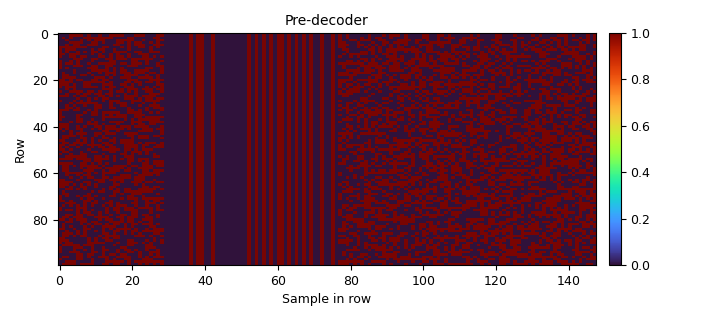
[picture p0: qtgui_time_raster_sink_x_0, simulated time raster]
options:
  parameters:
    author: brian
    generate_options: qt_gui
    id: gnuFlow
    output_language: python
    title: Not titled yet
  states: {}

blocks:
- name: alpha
  id: variable
  parameters:
    comment: |-
      Can't change alpha in real time
      for Consteallation Modulator
    value: '0.9'
  states: {}
- name: center_freq
  id: variable
  parameters:
    value: 915e6
  states: {}
- name: constellation
  id: variable_constellation
  parameters:
    precision: '8'
    type: bpsk
  states: {}
- name: constellation1
  id: variable_constellation
  parameters:
    precision: '8'
    type: qpsk
  states: {}
- name: costas_loop_bandwidth_in_cycles_per_sample
  id: variable_qtgui_range
  parameters:
    gui_hint: 21,0
    start: '0.0001'
    step: '0.0001'
    stop: '0.2'
    value: '.01'
  states: {state: disabled}
- name: nfilts
  id: variable
  parameters:
    value: '32'
  states: {state: disabled}
- name: offset
  id: variable_qtgui_range
  parameters:
    comment: increased range with FLL
    gui_hint: 6,0
    start: '-500e3'
    step: '1'
    stop: 500e3
    value: '0'
  states: {state: disabled}
- name: output_sps
  id: variable
  parameters:
    value: '1'
  states: {state: disabled}
- name: rcc_taps
  id: variable_rrc_filter_taps
  parameters:
    alpha: alpha
    comment: |-
      Gain: nfilts
      Sample Rate: nfilts*samp_rate
      Symbol Rate: samp_rate/sps
      Excess BW: alpha
      Num Taps: 11*sps*nfilts
    gain: nfilts
    ntaps: 11*sps*nfilts
    samp_rate: nfilts*samp_rate
    sym_rate: samp_rate/sps
  states: {state: disabled}
- name: samp_rate
  id: variable
  parameters:
    value: 1e6
  states: {}
- name: sps
  id: variable
  parameters:
    value: '4'
  states: {}
- name: tx_attenuation
  id: variable_qtgui_range
  parameters:
    gui_hint: 3,0
    start: '0'
    step: '1'
    stop: '89'
    value: '10'
  states: {state: disabled}
- name: analog_agc_xx_1
  id: analog_agc_xx
  parameters:
    gain: '1.0'
    max_gain: '65536'
    rate: '1e-4'
    reference: '1.0'
    type: complex
  states: {state: disabled}
- name: analog_random_source_x_0
  id: analog_random_source_x
  parameters:
    comment: 100 bits of random payload data
    max: '2'
    min: '0'
    num_samps: '10000'
    repeat: 'True'
    type: byte
  states: {}
- name: analog_random_uniform_source_x_0_0_0
  id: analog_random_uniform_source_x
  parameters:
    comment: |-
      random bytes;
      simulates input from TX python script
    maximum: '256'
    minimum: '0'
    seed: '0'
    type: byte
  states: {state: disabled}
- name: analog_sig_source_x_0
  id: analog_sig_source_x
  parameters:
    amp: '1'
    freq: offset
    offset: '0'
    phase: '0'
    samp_rate: samp_rate
    type: complex
    waveform: analog.GR_COS_WAVE
  states: {state: disabled}
- name: blocks_multiply_const_vxx_0
  id: blocks_multiply_const_vxx
  parameters:
    comment: |-
      Keep the signal from going
      above +1 or below -1
    const: '0.4'
    type: complex
  states: {state: disabled}
- name: blocks_multiply_xx_0
  id: blocks_multiply_xx
  parameters:
    type: complex
  states: {state: disabled}
- name: blocks_selector_1
  id: blocks_selector
  parameters:
    enabled: 'True'
    input_index: '1'
    num_inputs: '2'
    num_outputs: '1'
    output_index: '0'
    showports: 'False'
    type: complex
  states: {state: disabled}
- name: blocks_skiphead_0
  id: blocks_skiphead
  parameters:
    comment: |-
      skip one second of samples
      to allow FLL to sync
    num_items: int(samp_rate)
    type: complex
  states: {state: disabled}
- name: blocks_stream_mux_0
  id: blocks_stream_mux
  parameters:
    comment: crossing streammmsss!!!
    lengths: (48, 100)
    type: byte
  states: {}
- name: blocks_tag_debug_0_0_1_0
  id: blocks_tag_debug
  parameters:
    name: stream_output
    type: complex
  states: {state: disabled}
- name: blocks_tagged_stream_mux_0_0
  id: blocks_tagged_stream_mux
  parameters:
    lengthtagname: packet_len
    ninputs: '2'
    type: complex
  states: {state: disabled}
- name: blocks_unpacked_to_packed_xx_0
  id: blocks_unpacked_to_packed_xx
  parameters:
    bits_per_chunk: '1'
    endianness: gr.GR_MSB_FIRST
    type: byte
  states: {state: disabled}
- name: blocks_vector_source_x_0
  id: blocks_vector_source_x
  parameters:
    comment: |-
      Example Header for testing
      MCS: 00000001
      LEN: 01100100 (100)
      SEQ: 00000001
      SRC: 01010101
      DES: 10101010
      CRC: 10010010
    repeat: 'True'
    type: byte
    vector: (0,0,0,0,0,0,0,1,0,1,1,0,0,1,0,0,0,0,0,0,0,0,0,1,0,1,0,1,0,1,0,1,1,0,1,0,1,0,1,0,1,0,0,1,0,0,1,0)
  states: {}
- name: digital_constellation_decoder_cb_0
  id: digital_constellation_decoder_cb
  parameters:
    constellation: constellation
  states: {state: disabled}
- name: digital_costas_loop_cc_0
  id: digital_costas_loop_cc
  parameters:
    order: constellation.arity()
    w: 2*math.pi*costas_loop_bandwidth_in_cycles_per_sample
  states: {state: disabled}
- name: digital_fll_band_edge_cc_0
  id: digital_fll_band_edge_cc
  parameters:
    comment: |-
      Samples Per Symbol: sps
      Filter Rolloff Factor: alpha
      Prototype Filter Size: sps*2+1
      Loop Bandwidth: 2*math.pi/sps/100
    filter_size: sps*2+1
    rolloff: alpha
    samps_per_sym: sps
    type: cc
    w: 2*math.pi/sps/100
  states: {state: disabled}
- name: digital_packet_headerparser_b_0
  id: digital_packet_headerparser_b
  parameters: {}
  states: {state: disabled}
- name: digital_symbol_sync_xx_0
  id: digital_symbol_sync_xx
  parameters:
    comment: |-
      Filterbank Arms: nfilts
      PFB MF Taps: rcc_taps
      Changed Maximum Deviation to 0.1 because 
      the clocks aren't more off than 0.1 samples per symbol
    damping: '1.0'
    loop_bw: '0.045'
    max_dev: '0.1'
    nfilters: nfilts
    osps: output_sps
    pfb_mf_taps: rcc_taps
    resamp_type: digital.IR_PFB_MF
    sps: sps
    ted_gain: '1.0'
    ted_type: digital.TED_SIGNAL_TIMES_SLOPE_ML
    type: cc
  states: {state: disabled}
- name: epy_block_0
  id: epy_block
  parameters:
    _source_code: |
      from gnuradio import gr
      import pmt
      import logging

      class ExtractMCS(gr.basic_block):
          def __init__(self, selector_tag:str="mcs_selector", length_tag_key:str="packet_len"):
              gr.basic_block.__init__(self,
                  name="Extract MCS from PDU",
                  in_sig=None,
                  out_sig=None)
              
              self.selector_tag = selector_tag
              self.length_tag_key = pmt.intern(length_tag_key)  # Convert key to PMT
              
              self.message_port_register_in(pmt.intern("pdu_in"))
              self.message_port_register_out(pmt.intern("header_out"))
              self.message_port_register_out(pmt.intern("data_out"))
              self.message_port_register_out(pmt.intern("mcs_out"))
              
              self.set_msg_handler(pmt.intern("pdu_in"), self.handle_pdu)
              
              # Setup logging
              logging.basicConfig(level=logging.DEBUG)
              self.logger = logging.getLogger("ExtractMCS")

          def handle_pdu(self, msg):
              if not pmt.is_pair(msg):
                  self.logger.warning("Received malformed PDU message.")
                  return  # Ignore malformed messages
              
              meta = pmt.car(msg)  # Metadata
              data = pmt.cdr(msg)  # Payload (header + actual data)
              
              self.logger.debug(f"Received PDU with metadata: {meta}")
              
              if pmt.is_u8vector(data):
                  data_bytes = pmt.u8vector_elements(data)
                  
                  if len(data_bytes) >= 6:
                      mcs_value = data_bytes[0]  # First byte is MCS field
                      header = data_bytes[:6]  # First 6 bytes as header
                      payload = data_bytes[6:]  # Remaining bytes as payload
                      
                      self.logger.info(f"Extracted MCS value: {mcs_value}")
                      self.message_port_pub(pmt.intern("mcs_out"), pmt.cons(pmt.PMT_NIL, pmt.from_long(mcs_value)))

                      # Add length tag to metadata
                      # updated_meta = pmt.dict_add(meta, self.length_tag_key, pmt.from_long(len(header)))

                      # Send header as a separate PDU
                      header_pdu = pmt.cons(meta, pmt.init_u8vector(len(header), header))
                      self.logger.debug("Sending header PDU.")
                      self.message_port_pub(pmt.intern("header_out"), header_pdu)
                      
                      # Send payload as a separate PDU
                      payload_pdu = pmt.cons(meta, pmt.init_u8vector(len(payload), payload))
                      self.logger.debug("Sending payload PDU.")
                      self.message_port_pub(pmt.intern("data_out"), payload_pdu)

                  else:
                      self.logger.warning("Payload is too short to contain a valid header.")
              else:
                  self.logger.warning("Payload is not in expected format (u8vector).")
    comment: |-
      Takes in the PDU from python land
      and splits the header from it.
      Also sets the selector block for MCS
    length_tag_key: '"packet_len"'
    selector_tag: '''mcs_selector'''
  states: {state: disabled}
- name: epy_block_1
  id: epy_block
  parameters:
    _source_code: "\"\"\"\nEmbedded Python Blocks:\n\nEach time this file is saved, GRC will instantiate the first class it finds\nto get ports and parameters of your block. The arguments to __init__  will\nbe the parameters. All of them are required to have default values!\n\"\"\"\nimport numpy as np\nfrom gnuradio import gr\nimport pmt\nimport logging\n\nclass ExtractStream(gr.basic_block):\n    # def __init__(self, selector_tag:str=\"mcs_selector\", length_tag_key:str=\"packet_len\"):\n    def __init__(self):\n        gr.basic_block.__init__(self,\n            name=\"Decode from Stream\",\n            in_sig=[np.uint8],\n            out_sig=[np.uint8])\n        \n        self.message_port_register_out(pmt.intern(\"mcs_out\"))\n        self.message_port_register_out(pmt.intern(\"header_out\"))\n        self.message_port_register_out(pmt.intern(\"length_out\"))\n        \n        # Setup logging\n        logging.basicConfig(level=logging.DEBUG)\n        self.logger = logging.getLogger(\"ExtractStream\")\n        self.logger.debug(\"ExtractStream block initialized.\")\n\n    def work(self, input_items, output_items):\n        in_data = input_items[0]\n        out_data = output_items[0]\n\n        self._bit_buffer = getattr(self, \"_bit_buffer\", [])\n        self._sample_offset = getattr(self, \"_sample_offset\", self.nitems_written(0))\n\n        # Copy input to output\n        out_data[:len(in_data)] = in_data\n\n        for i, bit in enumerate(in_data):\n            self._bit_buffer.append(bit & 0x01)\n            self.logger.debug(\"Bit buffer: %s\", self._bit_buffer)\n\n            if len(self._bit_buffer) >= 48:\n                byte_list = []\n                for j in range(0, 48, 8):\n                    byte = sum((self._bit_buffer[j + k] << (7 - k)) for k in range(8))\n                    byte_list.append(byte)\n\n                header = bytearray(byte_list[:6])\n                mcs, length = header[0], header[1]\n\n                # Publish PMT messages\n                self.message_port_pub(pmt.intern(\"mcs_out\"), pmt.from_long(mcs))\n                self.message_port_pub(pmt.intern(\"header_out\"), pmt.init_u8vector(6, header))\n                self.message_port_pub(pmt.intern(\"length_out\"), pmt.from_long(length))\n\n                # Tag stream\n                tag_offset = self._sample_offset + i - 47  # Start of 48-bit sequence\n                self.add_item_tag(0, tag_offset, pmt.intern(\"mcs_selector\"), pmt.from_long(mcs))\n                self.add_item_tag(0, tag_offset, pmt.intern(\"packet_len\"), pmt.from_long(length))\n\n                del self._bit_buffer[:48]\n\n        self._sample_offset += len(in_data)\n        return len(in_data)\n\n        \n        "
  states: {}
- name: epy_block_3
  id: epy_block
  parameters:
    _source_code: |-
      import numpy as np
      from gnuradio import gr, blocks, digital
      from gnuradio.filter import firdes
      import pmt

      class pdu_modulator(gr.basic_block):
          """
          Custom GNU Radio block that takes in a PDU of bytes, maps them to symbols,
          applies RRC pulse shaping, and outputs a tagged complex stream.
          """
          def __init__(self, constellation=digital.bpsk_constellation(), sps=4, alpha=0.5, span=12,keep_front_transients=False,keep_back_transients=False):
              gr.sync_block.__init__(self,
                  name="pdu_modulator",
                  in_sig=None,
                  out_sig=[np.complex64])
              
              self.constellation = constellation
              self.sps = sps  # Samples per symbol
              self.span =span
              self.rrc_taps = firdes.root_raised_cosine(sps, sps, 1.0, alpha, span * sps)
              self.keep_front_transients = keep_front_transients
              self.keep_back_transients = keep_back_transients
              
              self.set_tag_propagation_policy(gr.TPP_DONT)
              
              self.bits_per_symbol = int(np.log2(len(self.constellation.points())))

              self.message_port_register_in(pmt.intern("Data in"))
              self.set_msg_handler(pmt.intern("Data in"), self.handle_pdu)
              self.shaped_data = None

          @staticmethod
          def bits_to_decimal(bits):
              # Convert each row of bits into its decimal equivalent
              return np.dot(bits, 2 ** np.arange(bits.shape[-1] - 1, -1, -1))
          
          def handle_pdu(self, msg):
              # Extract PDU payload
              meta = pmt.car(msg)  # Metadata
              data = pmt.cdr(msg)  # Payload (header + actual data)
              # # payload = np.frombuffer(msg.to_string(), dtype=np.uint8)
              # print(f"data: {data}")
              # # Map bytes to constellation symbols
              # bits_per_symbol = int(np.log2(len(self.constellation.points())))
              payload = np.array(pmt.u8vector_elements(data), dtype=np.uint8)
              # print(f"payload: {payload}")

              # Convert bytes into bitstream
              # print(f"data: {type(data)}")
              bitstream = np.unpackbits(payload)
              # print(f"bitstream: {bitstream}")

              # Ensure bitstream is a multiple of bits_per_symbol (pad with zeros if necessary)
              extra_bits = len(bitstream) % self.bits_per_symbol
              if extra_bits != 0:
                  bitstream = np.pad(bitstream, (0, self.bits_per_symbol - extra_bits))

              # Reshape bitstream into symbols
              # symbol_indices = np.packbits(bitstream.reshape(-1, self.bits_per_symbol), axis=-1).flatten()
              symbol_indices = self.bits_to_decimal(bitstream.reshape((-1,self.bits_per_symbol)))
              # print(f"just looking: {np.packbits(bitstream.reshape((-1, self.bits_per_symbol)), axis=-1)}")
              # print(f"symbol indices: {symbol_indices}")

              # Map symbol indices to constellation points
              # symbols = np.array([self.constellation.map_to_points(int(idx)) for idx in symbol_indices], dtype=np.complex64)
              # Allocate array for constellation mapping
              symbols = np.zeros(len(symbol_indices), dtype=np.complex64)
              # print(f"const points: {self.constellation.points()}")
              # Map symbol indices to constellation points (FIX: Correct function call)
              for index, indice in enumerate(symbol_indices):
                  # a = complex(0,0)
                  symbols[index] = self.constellation.map_to_points_v(indice)[0]
                  # print(index,a)

              # symbols = self.constellation.map_to_points(data)
              # print(f"bits_per_sym: {self.bits_per_symbol}, symbols: {symbols}")
              # Upsample and apply RRC filter
              upsampled = np.zeros(len(symbols) * self.sps, dtype=np.complex64)
              upsampled[::self.sps] = symbols  # Insert symbols with spacing
              self.shaped_data = np.convolve(upsampled, self.rrc_taps, mode='full')
              # print(f"shape of data: {self.shaped_data.shape}")
              # print(f"index: {0 if self.keep_front_transients else int(self.sps*self.span/2)} {len(self.shaped_data) if self.keep_back_transients else -int(self.sps*self.span/2)}")
              self.shaped_data = self.shaped_data[0 if self.keep_front_transients else int(self.sps*self.span/2):len(self.shaped_data) if self.keep_back_transients else -int(self.sps*self.span/2)]
              # print(f"size of filter: {len(self.rrc_taps)}, size of output: {len(self.shaped_data)}")
              
              # Tagging: Set packet length and update stream tag
              offset = self.nitems_written(0)
              self.add_item_tag(0, offset, gr.pmt.string_to_symbol("packet_len"), gr.pmt.from_long(len(self.shaped_data)))
              
              # # Output modulated samples
              # self.produce(0, len(shaped))
              # self.output_items[0][:len(shaped)] = shaped

          def work(self, input_items, output_items):
              if self.shaped_data is not None:
                  # Output modulated samples
                  output_items[0][:len(self.shaped_data)] = self.shaped_data
                  data_size = len(self.shaped_data)
                  self.shaped_data = None  # Reset after output
                  return data_size
              else:
                  return 0  # No data to output
    alpha: '.5'
    comment: |-
      BPSK for MCS0 for header.

      This block takes in a PDU and modulates it
      uses the RRC filter.

      Set if you want to keep the filter transients at the end.
      This may be nice if you want the radio to behave better
      at packet transmition.
    constellation: constellation
    keep_back_transients: 'False'
    keep_front_transients: 'False'
    span: '12'
    sps: sps
  states: {state: disabled}
- name: epy_block_3_0
  id: epy_block
  parameters:
    _source_code: |-
      import numpy as np
      from gnuradio import gr, blocks, digital
      from gnuradio.filter import firdes
      import pmt

      class pdu_modulator(gr.basic_block):
          """
          Custom GNU Radio block that takes in a PDU of bytes, maps them to symbols,
          applies RRC pulse shaping, and outputs a tagged complex stream.
          """
          def __init__(self, constellation=digital.bpsk_constellation(), sps=4, alpha=0.5, span=12,keep_front_transients=False,keep_back_transients=False):
              gr.sync_block.__init__(self,
                  name="pdu_modulator",
                  in_sig=None,
                  out_sig=[np.complex64])
              
              self.constellation = constellation
              self.sps = sps  # Samples per symbol
              self.span =span
              self.rrc_taps = firdes.root_raised_cosine(sps, sps, 1.0, alpha, span * sps)
              self.keep_front_transients = keep_front_transients
              self.keep_back_transients = keep_back_transients
              
              self.set_tag_propagation_policy(gr.TPP_DONT)
              
              self.bits_per_symbol = int(np.log2(len(self.constellation.points())))

              self.message_port_register_in(pmt.intern("Data in"))
              self.set_msg_handler(pmt.intern("Data in"), self.handle_pdu)
              self.shaped_data = None

          @staticmethod
          def bits_to_decimal(bits):
              # Convert each row of bits into its decimal equivalent
              return np.dot(bits, 2 ** np.arange(bits.shape[-1] - 1, -1, -1))
          
          def handle_pdu(self, msg):
              # Extract PDU payload
              meta = pmt.car(msg)  # Metadata
              data = pmt.cdr(msg)  # Payload (header + actual data)
              # # payload = np.frombuffer(msg.to_string(), dtype=np.uint8)
              # print(f"data: {data}")
              # # Map bytes to constellation symbols
              # bits_per_symbol = int(np.log2(len(self.constellation.points())))
              payload = np.array(pmt.u8vector_elements(data), dtype=np.uint8)
              print(f"payload: {payload}")

              # Convert bytes into bitstream
              # print(f"data: {type(data)}")
              bitstream = np.unpackbits(payload)
              print(f"bitstream: {bitstream}")

              # Ensure bitstream is a multiple of bits_per_symbol (pad with zeros if necessary)
              extra_bits = len(bitstream) % self.bits_per_symbol
              if extra_bits != 0:
                  bitstream = np.pad(bitstream, (0, self.bits_per_symbol - extra_bits))

              # Reshape bitstream into symbols
              # symbol_indices = np.packbits(bitstream.reshape(-1, self.bits_per_symbol), axis=-1).flatten()
              symbol_indices = self.bits_to_decimal(bitstream.reshape((-1,self.bits_per_symbol)))
              # print(f"just looking: {np.packbits(bitstream.reshape((-1, self.bits_per_symbol)), axis=-1)}")
              print(f"symbol indices: {symbol_indices}")

              # Map symbol indices to constellation points
              # symbols = np.array([self.constellation.map_to_points(int(idx)) for idx in symbol_indices], dtype=np.complex64)
              # Allocate array for constellation mapping
              symbols = np.zeros(len(symbol_indices), dtype=np.complex64)
              print(f"const points: {self.constellation.points()}")
              # Map symbol indices to constellation points (FIX: Correct function call)
              for index, indice in enumerate(symbol_indices):
                  # a = complex(0,0)
                  symbols[index] = self.constellation.map_to_points_v(indice)[0]
                  # print(index,a)

              # symbols = self.constellation.map_to_points(data)
              print(f"bits_per_sym: {self.bits_per_symbol}, symbols: {symbols}")
              # Upsample and apply RRC filter
              upsampled = np.zeros(len(symbols) * self.sps, dtype=np.complex64)
              upsampled[::self.sps] = symbols  # Insert symbols with spacing
              self.shaped_data = np.convolve(upsampled, self.rrc_taps, mode='full')
              print(f"shape of data: {self.shaped_data.shape}")
              print(f"index: {0 if self.keep_front_transients else int(self.sps*self.span/2)} {len(self.shaped_data) if self.keep_back_transients else -int(self.sps*self.span/2)}")
              self.shaped_data = self.shaped_data[0 if self.keep_front_transients else int(self.sps*self.span/2):len(self.shaped_data) if self.keep_back_transients else -int(self.sps*self.span/2)]
              print(f"size of filter: {len(self.rrc_taps)}, size of output: {len(self.shaped_data)}")
              
              # Tagging: Set packet length and update stream tag
              offset = self.nitems_written(0)
              self.add_item_tag(0, offset, gr.pmt.string_to_symbol("packet_len"), gr.pmt.from_long(len(self.shaped_data)))
              
              # # Output modulated samples
              # self.produce(0, len(shaped))
              # self.output_items[0][:len(shaped)] = shaped

          def work(self, input_items, output_items):
              if self.shaped_data is not None:
                  # Output modulated samples
                  output_items[0][:len(self.shaped_data)] = self.shaped_data
                  data_size = len(self.shaped_data)
                  self.shaped_data = None  # Reset after output
                  return data_size
              else:
                  return 0  # No data to output
    alpha: '.5'
    comment: BPSK for MCS0 for payload
    constellation: constellation
    keep_back_transients: 'False'
    keep_front_transients: 'False'
    span: '12'
    sps: sps
  states: {state: disabled}
- name: epy_block_3_0_0
  id: epy_block
  parameters:
    _source_code: |-
      import numpy as np
      from gnuradio import gr, blocks, digital
      from gnuradio.filter import firdes
      import pmt

      class pdu_modulator(gr.basic_block):
          """
          Custom GNU Radio block that takes in a PDU of bytes, maps them to symbols,
          applies RRC pulse shaping, and outputs a tagged complex stream.
          """
          def __init__(self, constellation=digital.bpsk_constellation(), sps=4, alpha=0.5, span=12,keep_front_transients=False,keep_back_transients=False):
              gr.sync_block.__init__(self,
                  name="pdu_modulator",
                  in_sig=None,
                  out_sig=[np.complex64])
              
              self.constellation = constellation
              self.sps = sps  # Samples per symbol
              self.span =span
              self.rrc_taps = firdes.root_raised_cosine(sps, sps, 1.0, alpha, span * sps)
              self.keep_front_transients = keep_front_transients
              self.keep_back_transients = keep_back_transients
              
              self.set_tag_propagation_policy(gr.TPP_DONT)
              
              self.bits_per_symbol = int(np.log2(len(self.constellation.points())))

              self.message_port_register_in(pmt.intern("Data in"))
              self.set_msg_handler(pmt.intern("Data in"), self.handle_pdu)
              self.shaped_data = None

          @staticmethod
          def bits_to_decimal(bits):
              # Convert each row of bits into its decimal equivalent
              return np.dot(bits, 2 ** np.arange(bits.shape[-1] - 1, -1, -1))
          
          def handle_pdu(self, msg):
              # Extract PDU payload
              meta = pmt.car(msg)  # Metadata
              data = pmt.cdr(msg)  # Payload (header + actual data)
              # # payload = np.frombuffer(msg.to_string(), dtype=np.uint8)
              # print(f"data: {data}")
              # # Map bytes to constellation symbols
              # bits_per_symbol = int(np.log2(len(self.constellation.points())))
              payload = np.array(pmt.u8vector_elements(data), dtype=np.uint8)
              print(f"payload: {payload}")

              # Convert bytes into bitstream
              # print(f"data: {type(data)}")
              bitstream = np.unpackbits(payload)
              print(f"bitstream: {bitstream}")

              # Ensure bitstream is a multiple of bits_per_symbol (pad with zeros if necessary)
              extra_bits = len(bitstream) % self.bits_per_symbol
              if extra_bits != 0:
                  bitstream = np.pad(bitstream, (0, self.bits_per_symbol - extra_bits))

              # Reshape bitstream into symbols
              # symbol_indices = np.packbits(bitstream.reshape(-1, self.bits_per_symbol), axis=-1).flatten()
              symbol_indices = self.bits_to_decimal(bitstream.reshape((-1,self.bits_per_symbol)))
              # print(f"just looking: {np.packbits(bitstream.reshape((-1, self.bits_per_symbol)), axis=-1)}")
              print(f"symbol indices: {symbol_indices}")

              # Map symbol indices to constellation points
              # symbols = np.array([self.constellation.map_to_points(int(idx)) for idx in symbol_indices], dtype=np.complex64)
              # Allocate array for constellation mapping
              symbols = np.zeros(len(symbol_indices), dtype=np.complex64)
              print(f"const points: {self.constellation.points()}")
              # Map symbol indices to constellation points (FIX: Correct function call)
              for index, indice in enumerate(symbol_indices):
                  # a = complex(0,0)
                  symbols[index] = self.constellation.map_to_points_v(indice)[0]
                  # print(index,a)

              # symbols = self.constellation.map_to_points(data)
              print(f"bits_per_sym: {self.bits_per_symbol}, symbols: {symbols}")
              # Upsample and apply RRC filter
              upsampled = np.zeros(len(symbols) * self.sps, dtype=np.complex64)
              upsampled[::self.sps] = symbols  # Insert symbols with spacing
              self.shaped_data = np.convolve(upsampled, self.rrc_taps, mode='full')
              print(f"shape of data: {self.shaped_data.shape}")
              print(f"index: {0 if self.keep_front_transients else int(self.sps*self.span/2)} {len(self.shaped_data) if self.keep_back_transients else -int(self.sps*self.span/2)}")
              self.shaped_data = self.shaped_data[0 if self.keep_front_transients else int(self.sps*self.span/2):len(self.shaped_data) if self.keep_back_transients else -int(self.sps*self.span/2)]
              print(f"size of filter: {len(self.rrc_taps)}, size of output: {len(self.shaped_data)}")
              
              # Tagging: Set packet length and update stream tag
              offset = self.nitems_written(0)
              self.add_item_tag(0, offset, gr.pmt.string_to_symbol("packet_len"), gr.pmt.from_long(len(self.shaped_data)))
              
              # # Output modulated samples
              # self.produce(0, len(shaped))
              # self.output_items[0][:len(shaped)] = shaped

          def work(self, input_items, output_items):
              if self.shaped_data is not None:
                  # Output modulated samples
                  output_items[0][:len(self.shaped_data)] = self.shaped_data
                  data_size = len(self.shaped_data)
                  self.shaped_data = None  # Reset after output
                  return data_size
              else:
                  return 0  # No data to output
    alpha: '.5'
    comment: QPSK for MCS1 for payload.
    constellation: constellation1
    keep_back_transients: 'False'
    keep_front_transients: 'False'
    span: '12'
    sps: sps
  states: {state: disabled}
- name: iio_pluto_sink_0_0
  id: iio_pluto_sink
  parameters:
    attenuation1: tx_attenuation
    bandwidth: int(samp_rate)
    buffer_size: '32768'
    cyclic: 'False'
    filter_source: '''Auto'''
    frequency: int(center_freq)
    samplerate: int(samp_rate)
    type: fc32
    uri: 192.168.2.1
  states: {state: disabled}
- name: iio_pluto_source_0
  id: iio_pluto_source
  parameters:
    bandwidth: '20000000'
    bbdc: 'True'
    buffer_size: '32768'
    filter_source: '''Auto'''
    frequency: int(center_freq)
    gain1: '''slow_attack'''
    quadrature: 'True'
    rfdc: 'True'
    samplerate: int(samp_rate)
    type: fc32
  states: {state: disabled}
- name: import_0
  id: import
  parameters:
    imports: import math
  states: {}
- name: note_2
  id: note
  parameters:
    note: Read data from a file as data to TX
  states: {state: disabled}
- name: note_3
  id: note
  parameters:
    note: Preamble (010101010101...)
  states: {}
- name: qtgui_const_sink_x_0_0
  id: qtgui_const_sink_x
  parameters:
    comment: makes most sense if "Output Samples/Symbol" is 1
    gui_hint: 17,0
    label1: after Symbol Sync
    label2: after Costas
    nconnections: '2'
    size: '1024'
    type: complex
  states: {state: disabled}
- name: qtgui_eye_sink_x_0
  id: qtgui_eye_sink_x
  parameters:
    gui_hint: 'qtgui_tab@0 '
    samp_per_symbol: sps
    size: '1024'
    srate: samp_rate
    type: complex
  states: {state: disabled}
- name: qtgui_eye_sink_x_0_0_0
  id: qtgui_eye_sink_x
  parameters:
    gui_hint: 16,0
    label1: Eye Diagram after Costas Re
    label2: Eye Diagram after Costas  Im
    marker1: '0'
    marker2: '0'
    samp_per_symbol: sps
    size: '1024'
    srate: samp_rate/sps*output_sps
    type: complex
    ymax: '2'
    ymin: '-2'
  states: {state: disabled}
- name: qtgui_freq_sink_x_1
  id: qtgui_freq_sink_x
  parameters:
    bw: samp_rate
    fc: '0'
    fftsize: '1024'
    gui_hint: 1,0
    label1: Transmit
    type: complex
  states: {state: disabled}
- name: qtgui_tab
  id: qtgui_tab_widget
  parameters:
    label0: normal
    label1: debug
    num_tabs: '2'
  states: {state: disabled}
- name: qtgui_time_raster_sink_x_0
  id: qtgui_time_raster_sink_x
  parameters:
    color1: '1'
    gui_hint: 0,0,1,1
    name: '"Pre-decoder"'
    ncols: '148'
    nrows: '100'
    samp_rate: samp_rate
    type: byte
  states: {}
- name: qtgui_time_raster_sink_x_0_0
  id: qtgui_time_raster_sink_x
  parameters:
    color1: '1'
    name: '"Post-decoder"'
    ncols: '148'
    nrows: '100'
    samp_rate: samp_rate
    type: byte
  states: {}
- name: qtgui_time_sink_x_0
  id: qtgui_time_sink_x
  parameters:
    ctrlpanel: 'True'
    gui_hint: qtgui_tab@0 :0,0
    label1: Transmit re
    label2: Transmit im
    marker1: '0'
    marker2: '0'
    size: '624'
    srate: samp_rate
    tr_mode: qtgui.TRIG_MODE_TAG
    tr_tag: '"packet_len"'
    type: complex
    ymax: '1.2'
    ymin: '-1.2'
  states: {state: disabled}
- name: qtgui_time_sink_x_0_0_0_0_0_0
  id: qtgui_time_sink_x
  parameters:
    gui_hint: 18,0
    label1: Receive after Costas Re
    label2: Receive after Costas Im
    marker1: '0'
    marker2: '0'
    size: '100'
    srate: samp_rate/sps*output_sps
    type: complex
    ymax: '2'
    ymin: '-2'
  states: {state: disabled}
- name: virtual_sink_0
  id: virtual_sink
  parameters:
    stream_id: header
  states: {state: disabled}
- name: virtual_sink_1
  id: virtual_sink
  parameters:
    stream_id: transmit_data
  states: {state: disabled}
- name: virtual_source_0
  id: virtual_source
  parameters:
    stream_id: transmit_data
  states: {state: disabled}
- name: virtual_source_0_0
  id: virtual_source
  parameters:
    stream_id: header
  states: {state: disabled}
- name: zeromq_rep_msg_sink_0
  id: zeromq_rep_msg_sink
  parameters:
    address: 192.168.0.50
    timeout: '100'
  states: {state: disabled}
- name: zeromq_req_msg_source_0
  id: zeromq_req_msg_source
  parameters:
    timeout: '100'
  states: {state: disabled}
- name: zeromq_sub_msg_source_0
  id: zeromq_sub_msg_source
  parameters:
    address: tcp://127.0.0.1:5555
    timeout: '100'
  states: {state: disabled}

connections:
- [analog_agc_xx_1, '0', digital_fll_band_edge_cc_0, '0']
- [analog_random_source_x_0, '0', blocks_stream_mux_0, '1']
- [analog_sig_source_x_0, '0', blocks_multiply_xx_0, '1']
- [blocks_multiply_const_vxx_0, '0', blocks_multiply_xx_0, '0']
- [blocks_multiply_const_vxx_0, '0', iio_pluto_sink_0_0, '0']
- [blocks_multiply_const_vxx_0, '0', qtgui_eye_sink_x_0, '0']
- [blocks_multiply_const_vxx_0, '0', qtgui_freq_sink_x_1, '0']
- [blocks_multiply_const_vxx_0, '0', qtgui_time_sink_x_0, '0']
- [blocks_multiply_xx_0, '0', analog_agc_xx_1, '0']
- [blocks_selector_1, '0', blocks_tagged_stream_mux_0_0, '1']
- [blocks_skiphead_0, '0', digital_symbol_sync_xx_0, '0']
- [blocks_stream_mux_0, '0', epy_block_1, '0']
- [blocks_stream_mux_0, '0', qtgui_time_raster_sink_x_0, '0']
- [blocks_tagged_stream_mux_0_0, '0', blocks_tag_debug_0_0_1_0, '0']
- [blocks_tagged_stream_mux_0_0, '0', virtual_sink_1, '0']
- [blocks_vector_source_x_0, '0', blocks_stream_mux_0, '0']
- [digital_constellation_decoder_cb_0, '0', blocks_unpacked_to_packed_xx_0, '0']
- [digital_costas_loop_cc_0, '0', digital_constellation_decoder_cb_0, '0']
- [digital_costas_loop_cc_0, '0', qtgui_const_sink_x_0_0, '1']
- [digital_costas_loop_cc_0, '0', qtgui_eye_sink_x_0_0_0, '0']
- [digital_costas_loop_cc_0, '0', qtgui_time_sink_x_0_0_0_0_0_0, '0']
- [digital_fll_band_edge_cc_0, '0', blocks_skiphead_0, '0']
- [digital_symbol_sync_xx_0, '0', digital_costas_loop_cc_0, '0']
- [digital_symbol_sync_xx_0, '0', qtgui_const_sink_x_0_0, '0']
- [epy_block_0, data_out, epy_block_3_0, Data in]
- [epy_block_0, data_out, epy_block_3_0_0, Data in]
- [epy_block_0, header_out, epy_block_3, Data in]
- [epy_block_0, mcs_out, blocks_selector_1, iindex]
- [epy_block_1, '0', qtgui_time_raster_sink_x_0_0, '0']
- [epy_block_3, '0', virtual_sink_0, '0']
- [epy_block_3_0, '0', blocks_selector_1, '0']
- [epy_block_3_0_0, '0', blocks_selector_1, '1']
- [iio_pluto_source_0, '0', analog_agc_xx_1, '0']
- [virtual_source_0, '0', blocks_multiply_const_vxx_0, '0']
- [virtual_source_0, '0', blocks_multiply_xx_0, '0']
- [virtual_source_0, '0', qtgui_eye_sink_x_0, '0']
- [virtual_source_0, '0', qtgui_freq_sink_x_1, '0']
- [virtual_source_0, '0', qtgui_time_sink_x_0, '0']
- [virtual_source_0_0, '0', blocks_tagged_stream_mux_0_0, '0']
- [zeromq_sub_msg_source_0, out, epy_block_0, pdu_in]

metadata:
  file_format: 1
  grc_version: 3.10.10.0
